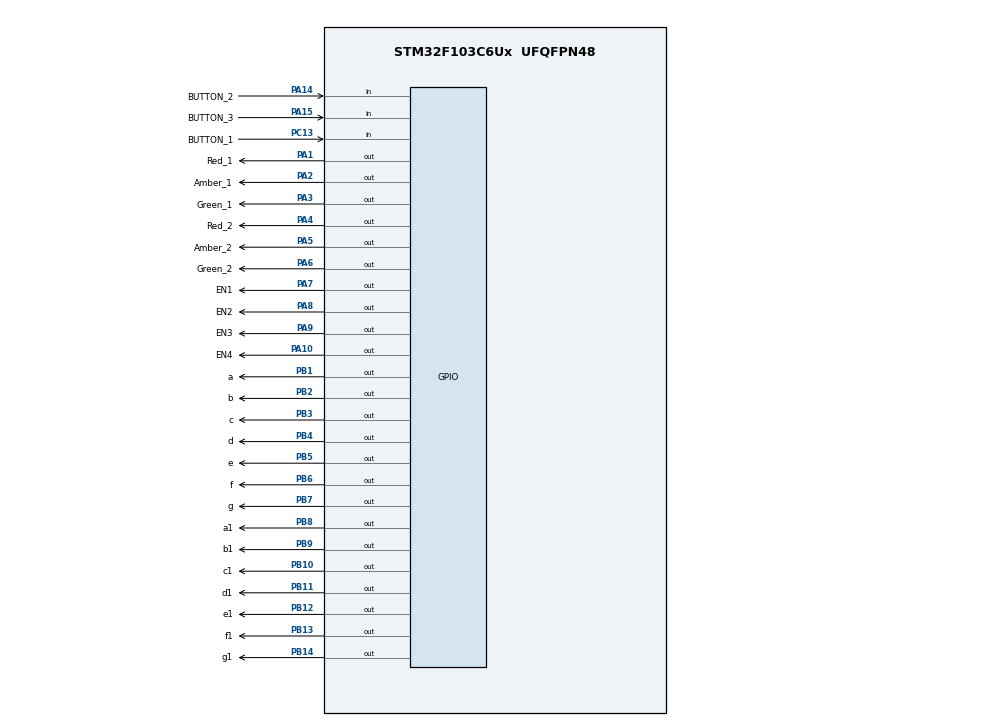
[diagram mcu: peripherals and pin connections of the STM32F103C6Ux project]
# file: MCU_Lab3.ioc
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Mcu.Family=STM32F1
Mcu.Name=STM32F103C6Ux
Mcu.Package=UFQFPN48
NVIC.PriorityGroup=NVIC_PRIORITYGROUP_4
NVIC.TIM2_IRQn=true\:0\:0\:false\:false\:true\:true\:true
PA1.GPIO_Label=Red_1
PA1.Signal=GPIO_Output
PA10.GPIO_Label=EN4
PA10.Signal=GPIO_Output
PA14.GPIO_Label=BUTTON_2
PA14.GPIO_PuPd=GPIO_PULLUP
PA14.Signal=GPIO_Input
PA15.GPIO_Label=BUTTON_3
PA15.GPIO_PuPd=GPIO_PULLUP
PA15.Signal=GPIO_Input
PA2.GPIO_Label=Amber_1
PA2.Signal=GPIO_Output
PA3.GPIO_Label=Green_1
PA3.Signal=GPIO_Output
PA4.GPIO_Label=Red_2
PA4.Signal=GPIO_Output
PA5.GPIO_Label=Amber_2
PA5.Signal=GPIO_Output
PA6.GPIO_Label=Green_2
PA6.Signal=GPIO_Output
PA7.GPIO_Label=EN1
PA7.Signal=GPIO_Output
PA8.GPIO_Label=EN2
PA8.Signal=GPIO_Output
PA9.GPIO_Label=EN3
PA9.Signal=GPIO_Output
PB1.GPIO_Label=a
PB1.Signal=GPIO_Output
PB10.GPIO_Label=c1
PB10.Signal=GPIO_Output
PB11.GPIO_Label=d1
PB11.Signal=GPIO_Output
PB12.GPIO_Label=e1
PB12.Signal=GPIO_Output
PB13.GPIO_Label=f1
PB13.Signal=GPIO_Output
PB14.GPIO_Label=g1
PB14.Signal=GPIO_Output
PB2.GPIO_Label=b
PB2.Signal=GPIO_Output
PB3.GPIO_Label=c
PB3.Signal=GPIO_Output
PB4.GPIO_Label=d
PB4.Signal=GPIO_Output
PB5.GPIO_Label=e
PB5.Signal=GPIO_Output
PB6.GPIO_Label=f
PB6.Signal=GPIO_Output
PB7.GPIO_Label=g
PB7.Signal=GPIO_Output
PB8.GPIO_Label=a1
PB8.Signal=GPIO_Output
PB9.GPIO_Label=b1
PB9.Signal=GPIO_Output
PC13-TAMPER-RTC.GPIO_Label=BUTTON_1
PC13-TAMPER-RTC.GPIO_PuPd=GPIO_PULLUP
PC13-TAMPER-RTC.Signal=GPIO_Input
ProjectManager.HeapSize=0x200
ProjectManager.StackSize=0x400
ProjectManager.TargetToolchain=STM32CubeIDE
RCC.APB1Freq_Value=8000000
RCC.APB2Freq_Value=8000000
TIM2.Period=9
TIM2.Prescaler=7999
VP_SYS_VS_ND.Mode=No_Debug
VP_TIM2_VS_ClockSourceINT.Mode=Internal
board=custom

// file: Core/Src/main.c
/* USER CODE BEGIN Header */
/**
  ******************************************************************************
  * @file           : main.c
  * @brief          : Main program body
  ******************************************************************************
  * @attention
  *
  * <h2><center>&copy; Copyright (c) 2025 STMicroelectronics.
  * All rights reserved.</center></h2>
  *
  * This software component is licensed by ST under BSD 3-Clause license,
  * the "License"; You may not use this file except in compliance with the
  * License. You may obtain a copy of the License at:
  * opensource.org/licenses/BSD-3-Clause
  *
  ******************************************************************************
  */
/* USER CODE END Header */
#include "main.h"
// #include "software_timer.h" // --- XÓA ---
#include "button.h"
#include "fsm.h"
#include "scheduler.h" // --- THÊM ---

/* USER CODE BEGIN Includes */
#include <stdint.h>
/* USER CODE END Includes */

TIM_HandleTypeDef htim2;

void SystemClock_Config(void);
static void MX_TIM2_Init(void);
static void MX_GPIO_Init(void);
/* USER CODE BEGIN PFP */
// --- XÓA --- (Đã chuyển sang fsm.h)
// void display_state(void);
// void fsm_update(void);
/* USER CODE END PFP */

/* USER CODE BEGIN 0 */

// --- XÓA TOÀN BỘ CÁC HÀM LOGIC ĐÃ CHUYỂN SANG fsm.c ---
// uint8_t led7segBuffer[4];
// const uint8_t SEGMENTS[10] = {...};
// void updateLedBuffer(...) { ... }
// void fsm_update(void) { ... }

// --- GIỮ LẠI CÁC HÀM LÁI LED 7-SEG CẤP THẤP ---
// (Bạn cũng có thể chuyển các hàm này sang fsm.c nếu muốn)

void display7SEG_off(void) {
    HAL_GPIO_WritePin(GPIOA, EN1_Pin|EN2_Pin|EN3_Pin|EN4_Pin, GPIO_PIN_SET);
}

void output7SEG(uint8_t value) {
    HAL_GPIO_WritePin(GPIOB, a_Pin, (value & 0x01) ? GPIO_PIN_RESET : GPIO_PIN_SET);
    HAL_GPIO_WritePin(GPIOB, b_Pin, (value & 0x02) ? GPIO_PIN_RESET : GPIO_PIN_SET);
    HAL_GPIO_WritePin(GPIOB, c_Pin, (value & 0x04) ? GPIO_PIN_RESET : GPIO_PIN_SET);
    HAL_GPIO_WritePin(GPIOB, d_Pin, (value & 0x08) ? GPIO_PIN_RESET : GPIO_PIN_SET);
    HAL_GPIO_WritePin(GPIOB, e_Pin, (value & 0x10) ? GPIO_PIN_RESET : GPIO_PIN_SET);
    HAL_GPIO_WritePin(GPIOB, f_Pin, (value & 0x20) ? GPIO_PIN_RESET : GPIO_PIN_SET);
    HAL_GPIO_WritePin(GPIOB, g_Pin, (value & 0x40) ? GPIO_PIN_RESET : GPIO_PIN_SET);
}

void update7SEG(void) {
    // Lấy buffer từ fsm.c (nếu bạn khai báo nó là extern)
    extern uint8_t led7segBuffer[4];
    static uint8_t digit = 0;

    display7SEG_off();

    switch(digit) {
        case 0: output7SEG(led7segBuffer[0]); HAL_GPIO_WritePin(GPIOA, EN1_Pin, GPIO_PIN_RESET); break;
        case 1: output7SEG(led7segBuffer[1]); HAL_GPIO_WritePin(GPIOA, EN2_Pin, GPIO_PIN_RESET); break;
        case 2: output7SEG(led7segBuffer[2]); HAL_GPIO_WritePin(GPIOA, EN3_Pin, GPIO_PIN_RESET); break;
        case 3: output7SEG(led7segBuffer[3]); HAL_GPIO_WritePin(GPIOA, EN4_Pin, GPIO_PIN_RESET); break;
    }

    digit = (digit + 1) % 4;
}

/* USER CODE END 0 */

int main(void)
{

  /* MCU Configuration--------------------------------------------------------*/

  /* Reset of all peripherals, Initializes the Flash interface and the Systick. */
  HAL_Init();

  /* Configure the system clock */
  SystemClock_Config();

  /* Initialize all configured peripherals */
  MX_TIM2_Init();
  MX_GPIO_Init();
  /* USER CODE BEGIN 2 */
  HAL_TIM_Base_Start_IT(&htim2);

  // --- THÊM PHẦN KHỞI TẠO SCHEDULER ---
  SCH_Init();
  fsm_init(); // Khởi tạo FSM

  // Tick timer là 10ms (từ MX_TIM2_Init)
  // 1. Task quét nút nhấn: chạy mỗi 10ms (1 tick)
  SCH_Add_Task(getKeyInput, 0, 1);

  // 2. Task quét LED 7-seg: chạy mỗi 10ms (1 tick), offset 1 tick
  // nếu muốn mượt hơn, bạn cần cấu hình TIM2 tick 1ms)
  SCH_Add_Task(update7SEG, 1, 1);

  // 3. Task FSM chính: chạy mỗi 10ms (1 tick), offset 2 ticks
  SCH_Add_Task(fsm_run, 2, 1);

  /* USER CODE END 2 */

  /* Infinite loop */
  /* USER CODE BEGIN WHILE */
  while (1) {
    SCH_Dispatch_Tasks();

  }
  /* USER CODE END 3 */
}

void SystemClock_Config(void)
{
  // (Giữ nguyên)
  RCC_OscInitTypeDef RCC_OscInitStruct = {0};
  RCC_ClkInitTypeDef RCC_ClkInitStruct = {0};

  /** Initializes the RCC Oscillators according to the specified parameters
  * in the RCC_OscInitTypeDef structure.
  */
  RCC_OscInitStruct.OscillatorType = RCC_OSCILLATORTYPE_HSI;
  RCC_OscInitStruct.HSIState = RCC_HSI_ON;
  RCC_OscInitStruct.HSICalibrationValue = RCC_HSICALIBRATION_DEFAULT;
  RCC_OscInitStruct.PLL.PLLState = RCC_PLL_NONE;
  if (HAL_RCC_OscConfig(&RCC_OscInitStruct) != HAL_OK)
  {
    Error_Handler();
  }
  /** Initializes the CPU, AHB and APB buses clocks
  */
  RCC_ClkInitStruct.ClockType = RCC_CLOCKTYPE_HCLK|RCC_CLOCKTYPE_SYSCLK
                              |RCC_CLOCKTYPE_PCLK1|RCC_CLOCKTYPE_PCLK2;
  RCC_ClkInitStruct.SYSCLKSource = RCC_SYSCLKSOURCE_HSI;
  RCC_ClkInitStruct.AHBCLKDivider = RCC_SYSCLK_DIV1;
  RCC_ClkInitStruct.APB1CLKDivider = RCC_HCLK_DIV1;
  RCC_ClkInitStruct.APB2CLKDivider = RCC_HCLK_DIV1;

  if (HAL_RCC_ClockConfig(&RCC_ClkInitStruct, FLASH_LATENCY_0) != HAL_OK)
  {
    Error_Handler();
  }
}

static void MX_TIM2_Init(void)
{
  // (Giữ nguyên - đây là 10ms tick)

  TIM_ClockConfigTypeDef sClockSourceConfig = {0};
  TIM_MasterConfigTypeDef sMasterConfig = {0};

  htim2.Instance = TIM2;
  htim2.Init.Prescaler = 7999;
  htim2.Init.CounterMode = TIM_COUNTERMODE_UP;
  htim2.Init.Period = 9;
  htim2.Init.ClockDivision = TIM_CLOCKDIVISION_DIV1;
  htim2.Init.AutoReloadPreload = TIM_AUTORELOAD_PRELOAD_DISABLE;
  if (HAL_TIM_Base_Init(&htim2) != HAL_OK)
  {
    Error_Handler();
  }
  sClockSourceConfig.ClockSource = TIM_CLOCKSOURCE_INTERNAL;
  if (HAL_TIM_ConfigClockSource(&htim2, &sClockSourceConfig) != HAL_OK)
  {
    Error_Handler();
  }
  sMasterConfig.MasterOutputTrigger = TIM_TRGO_RESET;
  sMasterConfig.MasterSlaveMode = TIM_MASTERSLAVEMODE_DISABLE;
  if (HAL_TIMEx_MasterConfigSynchronization(&htim2, &sMasterConfig) != HAL_OK)
  {
    Error_Handler();
  }

}

static void MX_GPIO_Init(void)
{
  // (Giữ nguyên)
  GPIO_InitTypeDef GPIO_InitStruct = {0};

  /* GPIO Ports Clock Enable */
  __HAL_RCC_GPIOC_CLK_ENABLE();
  __HAL_RCC_GPIOA_CLK_ENABLE();
  __HAL_RCC_GPIOB_CLK_ENABLE();

  /*Configure GPIO pin Output Level */
  HAL_GPIO_WritePin(GPIOA, Red_1_Pin|Amber_1_Pin|Green_1_Pin|Red_2_Pin
                          |Amber_2_Pin|Green_2_Pin|EN1_Pin|EN2_Pin
                          |EN3_Pin|EN4_Pin, GPIO_PIN_RESET);

  /*Configure GPIO pin Output Level */
  HAL_GPIO_WritePin(GPIOB, a_Pin|b_Pin|c1_Pin|d1_Pin
                          |e1_Pin|f1_Pin|g1_Pin|c_Pin
                          |d_Pin|e_Pin|f_Pin|g_Pin
                          |a1_Pin|b1_Pin, GPIO_PIN_RESET);

  /*Configure GPIO pin : BUTTON_1_Pin */
  GPIO_InitStruct.Pin = BUTTON_1_Pin;
  GPIO_InitStruct.Mode = GPIO_MODE_INPUT;
  GPIO_InitStruct.Pull = GPIO_PULLUP;
  HAL_GPIO_Init(BUTTON_1_GPIO_Port, &GPIO_InitStruct);

  /*Configure GPIO pins : Red_1_Pin Amber_1_Pin Green_1_Pin Red_2_Pin
                           Amber_2_Pin Green_2_Pin EN1_Pin EN2_Pin
                           EN3_Pin EN4_Pin */
  GPIO_InitStruct.Pin = Red_1_Pin|Amber_1_Pin|Green_1_Pin|Red_2_Pin
                          |Amber_2_Pin|Green_2_Pin|EN1_Pin|EN2_Pin
                          |EN3_Pin|EN4_Pin;
  GPIO_InitStruct.Mode = GPIO_MODE_OUTPUT_PP;
  GPIO_InitStruct.Pull = GPIO_NOPULL;
  GPIO_InitStruct.Speed = GPIO_SPEED_FREQ_LOW;
  HAL_GPIO_Init(GPIOA, &GPIO_InitStruct);

  /*Configure GPIO pins : a_Pin b_Pin c1_Pin d1_Pin
                           e1_Pin f1_Pin g1_Pin c_Pin
                           d_Pin e_Pin f_Pin g_Pin
                           a1_Pin b1_Pin */
  GPIO_InitStruct.Pin = a_Pin|b_Pin|c1_Pin|d1_Pin
                          |e1_Pin|f1_Pin|g1_Pin|c_Pin
                          |d_Pin|e_Pin|f_Pin|g_Pin
                          |a1_Pin|b1_Pin;
  GPIO_InitStruct.Mode = GPIO_MODE_OUTPUT_PP;
  GPIO_InitStruct.Pull = GPIO_NOPULL;
  GPIO_InitStruct.Speed = GPIO_SPEED_FREQ_LOW;
  HAL_GPIO_Init(GPIOB, &GPIO_InitStruct);

  /*Configure GPIO pins : BUTTON_2_Pin BUTTON_3_Pin */
  GPIO_InitStruct.Pin = BUTTON_2_Pin|BUTTON_3_Pin;
  GPIO_InitStruct.Mode = GPIO_MODE_INPUT;
  GPIO_InitStruct.Pull = GPIO_PULLUP;
  HAL_GPIO_Init(GPIOA, &GPIO_InitStruct);

}

/* USER CODE BEGIN 4 */

// --- SỬA LẠI NGẮT TIMER ---
void HAL_TIM_PeriodElapsedCallback(TIM_HandleTypeDef *htim){
  if (htim->Instance == TIM2) {
    // Báo cho bộ lập lịch biết 1 tick đã trôi qua
    SCH_Update();

  }
}
/* USER CODE END 4 */

void Error_Handler(void)
{
  // (Giữ nguyên)
  __disable_irq();
  while (1)
  {
  }
}

/************************ (C) COPYRIGHT STMicroelectronics *****END OF FILE****/
